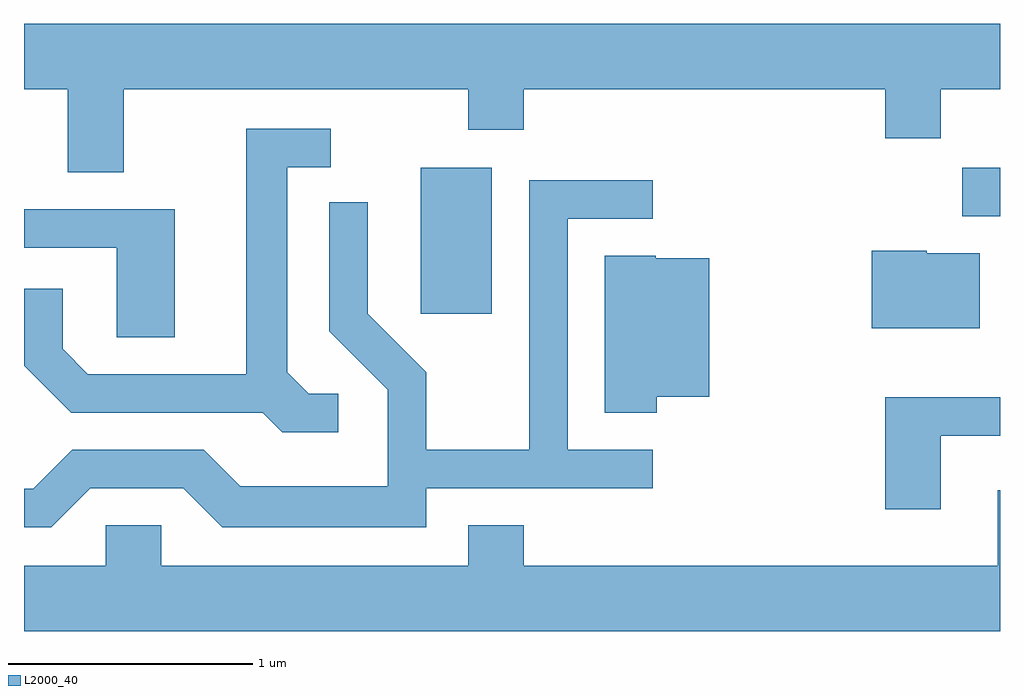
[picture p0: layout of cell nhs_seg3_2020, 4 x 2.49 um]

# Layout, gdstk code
import gdstk
lib = gdstk.Library(unit=1e-6, precision=1e-09)
def R(c, l, rs):  # rectangles x0, y0, x1, y1
    for r in rs: c.add(gdstk.rectangle(r[:2], r[2:], *l))
def P(c, l, *ps):  # polygons
    for p in ps: c.add(gdstk.Polygon(p, *l))
L2000_40 = (2000, 40)

nhs_seg3_2020 = lib.new_cell('nhs_seg3_2020')
R(nhs_seg3_2020, L2000_40, [(245.236,1213.896,245.529,1214.494), (247.456,1214.296,247.611,1214.494)])
P(nhs_seg3_2020, L2000_40, [(243.611,1214.816),(243.791,1214.816),(243.791,1214.476),(244.019,1214.476),(244.019,1214.816),(245.431,1214.816),(245.431,1214.651),(245.659,1214.651),(245.659,1214.816),(247.141,1214.816),(247.141,1214.616),(247.369,1214.616),(247.369,1214.816),(247.611,1214.816),(247.611,1215.084),(243.611,1215.084)],
  [(244.898,1213.569),(244.777,1213.569),(244.689,1213.657),(244.689,1214.496),(244.868,1214.496),(244.868,1214.654),(244.521,1214.654),(244.521,1213.649),(243.872,1213.649),(243.769,1213.752),(243.769,1213.998),(243.611,1213.998),(243.611,1213.684),(243.804,1213.491),(244.589,1213.491),(244.669,1213.411),(244.898,1213.411)],
  [(243.882,1213.181),(244.264,1213.181),(244.424,1213.021),(245.259,1213.021),(245.259,1213.181),(246.188,1213.181),(246.188,1213.339),(245.839,1213.339),(245.839,1214.286),(246.188,1214.286),(246.188,1214.444),(245.681,1214.444),(245.681,1213.339),(245.259,1213.339),(245.259,1213.657),(245.019,1213.897),(245.019,1214.353),(244.861,1214.353),(244.861,1213.824),(245.101,1213.584),(245.101,1213.189),(244.497,1213.189),(244.347,1213.339),(243.809,1213.339),(243.649,1213.179),(243.611,1213.179),(243.611,1213.021),(243.722,1213.021)],
  [(244.229,1214.324),(243.611,1214.324),(243.611,1214.166),(243.991,1214.166),(243.991,1213.801),(244.229,1213.801)],
  [(247.529,1214.144),(247.31,1214.144),(247.31,1214.154),(247.086,1214.154),(247.086,1213.836),(247.529,1213.836)],
  [(246.204,1213.556),(246.419,1213.556),(246.419,1214.124),(246.2,1214.124),(246.2,1214.134),(245.991,1214.134),(245.991,1213.491),(246.204,1213.491)],
  [(247.369,1213.396),(247.611,1213.396),(247.611,1213.554),(247.141,1213.554),(247.141,1213.096),(247.369,1213.096)],
  [(247.611,1213.174),(247.601,1213.174),(247.601,1212.864),(245.659,1212.864),(245.659,1213.029),(245.431,1213.029),(245.431,1212.864),(244.174,1212.864),(244.174,1213.029),(243.946,1213.029),(243.946,1212.864),(243.611,1212.864),(243.611,1212.596),(247.611,1212.596)])

lib.write_gds('nhs_seg3_2020.gds')
